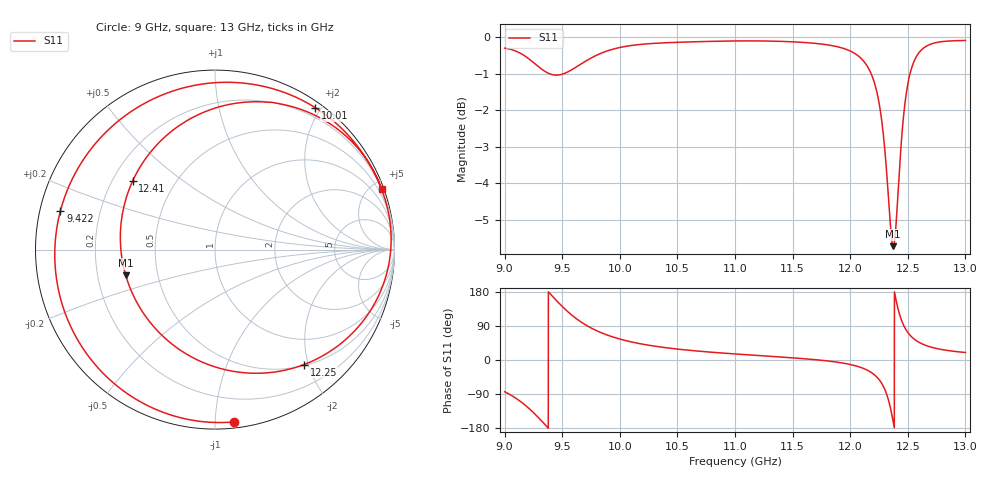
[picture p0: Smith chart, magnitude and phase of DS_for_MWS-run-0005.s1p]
! TOUCHSTONE file generated by CST DESIGN STUDIO
! Date and time: Tue Feb  4 14:01:40 2025
! Project name: C:\Work\MatlabApps\UnitCellOptimizationMatlab\CST\unitcell.cst
! Tree item: Tasks\Sweep1\SPara1\S-Parameters
! Header version: 2024
! Port assignment regex: !\s*Touchstone port\s*([0-9]+)\s*=\s*(CST MWS port|CST DES external port|CST DES block port)\s*(.+)\s* \(\"(.*)\"\)(\s*mode\s*([0-9]+))?.*
! Touchstone port assignment:
! Touchstone port 1 = CST DES external port 1 ("")
# GHz S MA R 50
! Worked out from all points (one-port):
!   4001 points, 9 GHz to 13 GHz, reference 50 ohm
!   lowest |S11| = -5.7 dB at 12.37 GHz (marker M1), VSWR 3.15, Z = 16.2 - j6.28 ohm
!   |S11| at or under -10 dB: nowhere
!   S11 on the Smith chart (normalised r, x): 9 GHz: 0.04, -1.12; 9.422 GHz: 0.06, +0.12; 10.01 GHz: 0.08, +1.93; 12.25 GHz: 0.52, -1.93; 12.41 GHz: 0.28, +0.34; 13 GHz: 0.18, +5.71
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9  0.9657 -83.6
9.112  0.9546 -103.8
9.205  0.9351 -126.1
9.322  0.9038 -161.0
9.422  0.8878 165.9
9.5  0.8896 141.3
9.59  0.9036 116.8
9.69  0.9243 95.1
9.838  0.9504 72.1
10  0.9677 55.3
10.007  0.9682 54.7
10.218  0.9784 40.7
10.5  0.9836 28.8
11  0.9878 16.0
11.5  0.9851 5.7
12  0.9571 -11.8
12.157  0.9075 -28.2
12.252  0.8102 -52.2
12.292  0.7245 -72.0
12.321  0.6383 -94.3
12.347  0.558 -123.5
12.374  0.5177 -164.1
12.411  0.5968 140.3
12.452  0.746 99.8
12.5  0.8619 72.8
12.567  0.9356 52.5
12.657  0.9708 38.4
13  0.9893 19.8
